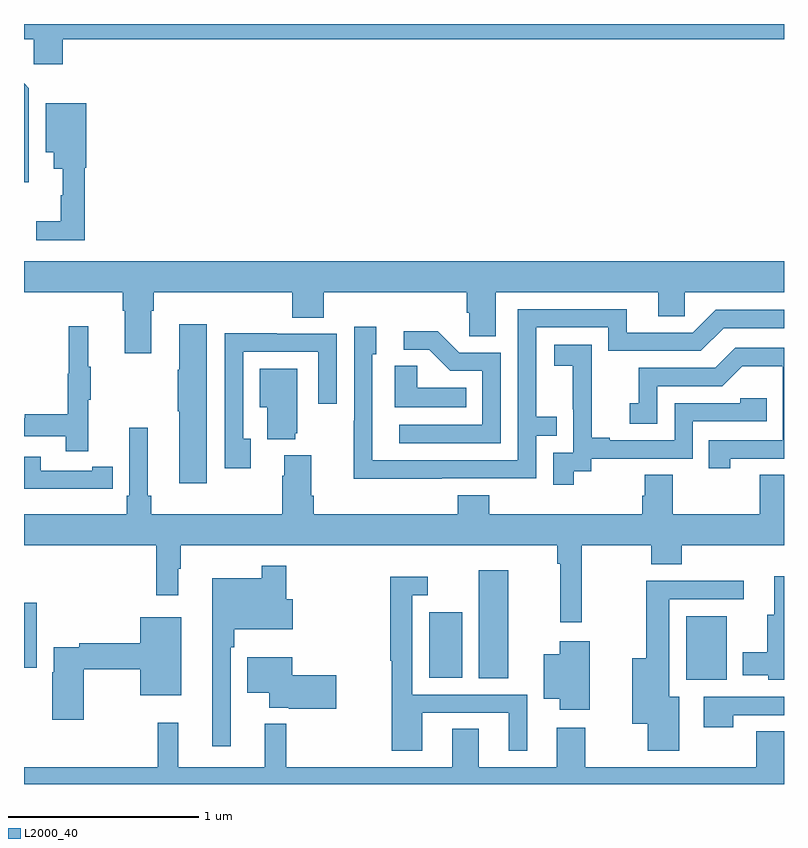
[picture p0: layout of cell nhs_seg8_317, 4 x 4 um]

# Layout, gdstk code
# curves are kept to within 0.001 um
import gdstk
lib = gdstk.Library(unit=1e-6, precision=1e-09)
def R(c, l, rs):  # rectangles x0, y0, x1, y1
    for r in rs: c.add(gdstk.rectangle(r[:2], r[2:], *l))
def P(c, l, *ps):  # polygons
    for p in ps: c.add(gdstk.Polygon(p, *l))
L2000_40 = (2000, 40)

nhs_seg8_317 = lib.new_cell('nhs_seg8_317')
R(nhs_seg8_317, L2000_40, [(134.486,1126.448,134.698,1126.783), (133.394,1126.456,133.549,1127.026), (133.133,1126.46,133.306,1126.804), (131,1126.511,131.068,1126.855)])
P(nhs_seg8_317, L2000_40, [(131.204,1129.82),(135,1129.82),(135,1129.9),(131,1129.9),(131,1129.82),(131.052,1129.82),(131.052,1129.689),(131.204,1129.689)],
  [(131.025,1129.563),(131,1129.588),(131,1129.068),(131.025,1129.068)],
  [(131.321,1129.143),(131.327,1129.143),(131.327,1129.483),(131.114,1129.483),(131.114,1129.226),(131.156,1129.226),(131.156,1129.139),(131.204,1129.139),(131.204,1128.999),(131.193,1128.999),(131.193,1128.863),(131.064,1128.863),(131.064,1128.762),(131.321,1128.762)],
  [(131.671,1128.392),(131.684,1128.392),(131.684,1128.488),(132.413,1128.488),(132.413,1128.355),(132.578,1128.355),(132.578,1128.488),(133.331,1128.488),(133.331,1128.379),(133.344,1128.379),(133.344,1128.256),(133.483,1128.256),(133.483,1128.488),(134.339,1128.488),(134.339,1128.361),(134.478,1128.361),(134.478,1128.488),(135,1128.488),(135,1128.652),(131,1128.652),(131,1128.488),(131.519,1128.488),(131.519,1128.392),(131.531,1128.392),(131.531,1128.168),(131.671,1128.168)],
  [(133.199,1127.508),(133.695,1127.508),(133.695,1127.733),(133.805,1127.733),(133.805,1127.834),(133.695,1127.834),(133.695,1128.303),(134.076,1128.303),(134.076,1128.18),(134.562,1128.18),(134.682,1128.3),(135,1128.3),(135,1128.396),(134.64,1128.396),(134.52,1128.276),(134.173,1128.276),(134.173,1128.399),(133.599,1128.399),(133.599,1127.604),(132.834,1127.604),(132.834,1128.162),(132.853,1128.162),(132.853,1128.307),(132.738,1128.307),(132.738,1127.813),(132.736,1127.813),(132.736,1127.507)],
  [(131.962,1128.319),(131.816,1128.319),(131.816,1128.08),(131.809,1128.08),(131.809,1127.863),(131.816,1127.863),(131.816,1127.484),(131.962,1127.484)],
  [(131.339,1127.923),(131.35,1127.923),(131.35,1128.097),(131.339,1128.097),(131.339,1128.31),(131.236,1128.31),(131.236,1128.06),(131.229,1128.06),(131.229,1127.846),(131.005,1127.846),(131.005,1127.826),(131,1127.826),(131,1127.73),(131.221,1127.73),(131.221,1127.652),(131.339,1127.652)],
  [(133.509,1128.171),(133.29,1128.171),(133.177,1128.284),(132.999,1128.284),(132.999,1128.186),(133.133,1128.186),(133.244,1128.075),(133.413,1128.075),(133.413,1127.79),(132.975,1127.79),(132.975,1127.694),(133.509,1127.694)],
  [(132.193,1127.718),(132.153,1127.718),(132.153,1128.174),(132.549,1128.174),(132.549,1127.901),(132.645,1127.901),(132.645,1128.27),(132.329,1128.27),(132.329,1128.272),(132.057,1128.272),(132.057,1127.562),(132.193,1127.562)],
  [(133.894,1127.545),(133.986,1127.545),(133.986,1127.613),(134.52,1127.613),(134.52,1127.808),(134.909,1127.808),(134.909,1127.931),(134.769,1127.931),(134.769,1127.904),(134.424,1127.904),(134.424,1127.709),(134.083,1127.709),(134.083,1127.722),(133.988,1127.722),(133.988,1128.005),(133.989,1128.005),(133.989,1128.211),(133.791,1128.211),(133.791,1128.101),(133.889,1128.101),(133.889,1127.873),(133.89,1127.873),(133.89,1127.643),(133.785,1127.643),(133.785,1127.475),(133.894,1127.475)],
  [(134.716,1127.613),(135,1127.613),(135,1128.195),(134.744,1128.195),(134.639,1128.09),(134.236,1128.09),(134.236,1127.905),(134.187,1127.905),(134.187,1127.796),(134.334,1127.796),(134.334,1127.994),(134.676,1127.994),(134.78,1128.098),(134.994,1128.098),(134.994,1127.709),(134.605,1127.709),(134.605,1127.562),(134.716,1127.562)],
  [(133.328,1127.986),(133.071,1127.986),(133.071,1128.101),(132.95,1128.101),(132.95,1127.882),(133.328,1127.882)],
  [(132.428,1127.745),(132.439,1127.745),(132.439,1128.085),(132.242,1128.085),(132.242,1127.882),(132.281,1127.882),(132.281,1127.714),(132.428,1127.714)],
  [(133.448,1127.419),(133.283,1127.419),(133.283,1127.32),(132.524,1127.32),(132.524,1127.416),(132.511,1127.416),(132.511,1127.629),(132.371,1127.629),(132.371,1127.522),(132.359,1127.522),(132.359,1127.32),(131.669,1127.32),(131.669,1127.416),(131.65,1127.416),(131.65,1127.776),(131.553,1127.776),(131.553,1127.416),(131.54,1127.416),(131.54,1127.32),(131,1127.32),(131,1127.156),(131.695,1127.156),(131.695,1126.893),(131.812,1126.893),(131.812,1127.033),(131.824,1127.033),(131.824,1127.156),(133.807,1127.156),(133.807,1127.06),(133.822,1127.06),(133.822,1126.752),(133.936,1126.752),(133.936,1127.156),(134.302,1127.156),(134.302,1127.057),(134.462,1127.057),(134.462,1127.156),(135,1127.156),(135,1127.528),(134.872,1127.528),(134.872,1127.32),(134.415,1127.32),(134.415,1127.528),(134.267,1127.528),(134.267,1127.418),(134.255,1127.418),(134.255,1127.32),(133.448,1127.32)],
  [(131.36,1127.454),(131.468,1127.454),(131.468,1127.57),(131.36,1127.57),(131.36,1127.55),(131.088,1127.55),(131.088,1127.622),(131,1127.622),(131,1127.453),(131.36,1127.453)],
  [(132.087,1126.619),(132.107,1126.619),(132.107,1126.715),(132.415,1126.715),(132.415,1126.873),(132.38,1126.873),(132.38,1127.05),(132.252,1127.05),(132.252,1126.984),(131.99,1126.984),(131.99,1126.098),(132.087,1126.098)],
  [(135,1126.993),(134.948,1126.993),(134.948,1126.792),(134.912,1126.792),(134.912,1126.594),(134.783,1126.594),(134.783,1126.472),(134.916,1126.472),(134.916,1126.448),(135,1126.448)],
  [(133.096,1126.275),(133.55,1126.275),(133.55,1126.074),(133.648,1126.074),(133.648,1126.371),(133.044,1126.371),(133.044,1126.893),(133.126,1126.893),(133.126,1126.99),(132.928,1126.99),(132.928,1126.55),(132.935,1126.55),(132.935,1126.074),(133.096,1126.074)],
  [(134.449,1126.36),(134.395,1126.36),(134.395,1126.872),(134.788,1126.872),(134.788,1126.97),(134.275,1126.97),(134.275,1126.561),(134.201,1126.561),(134.201,1126.217),(134.282,1126.217),(134.282,1126.074),(134.449,1126.074)],
  [(131.314,1126.504),(131.612,1126.504),(131.612,1126.367),(131.827,1126.367),(131.827,1126.777),(131.612,1126.777),(131.612,1126.64),(131.29,1126.64),(131.29,1126.62),(131.156,1126.62),(131.156,1126.487),(131.149,1126.487),(131.149,1126.239),(131.314,1126.239)],
  [(133.978,1126.651),(133.82,1126.651),(133.82,1126.582),(133.736,1126.582),(133.736,1126.349),(133.82,1126.349),(133.82,1126.29),(133.978,1126.29)],
  [(132.643,1126.472),(132.412,1126.472),(132.412,1126.567),(132.176,1126.567),(132.176,1126.379),(132.29,1126.379),(132.29,1126.301),(132.394,1126.301),(132.394,1126.296),(132.643,1126.296)],
  [(134.733,1126.263),(135,1126.263),(135,1126.359),(134.577,1126.359),(134.577,1126.2),(134.733,1126.2)],
  [(135,1126.178),(134.854,1126.178),(134.854,1125.988),(133.953,1125.988),(133.953,1126.195),(133.805,1126.195),(133.805,1125.988),(133.393,1125.988),(133.393,1126.19),(133.253,1126.19),(133.253,1125.988),(132.379,1125.988),(132.379,1126.216),(132.266,1126.216),(132.266,1125.988),(131.813,1125.988),(131.813,1126.222),(131.703,1126.222),(131.703,1125.988),(131,1125.988),(131,1125.9),(135,1125.9)])

lib.write_gds('nhs_seg8_317.gds')
